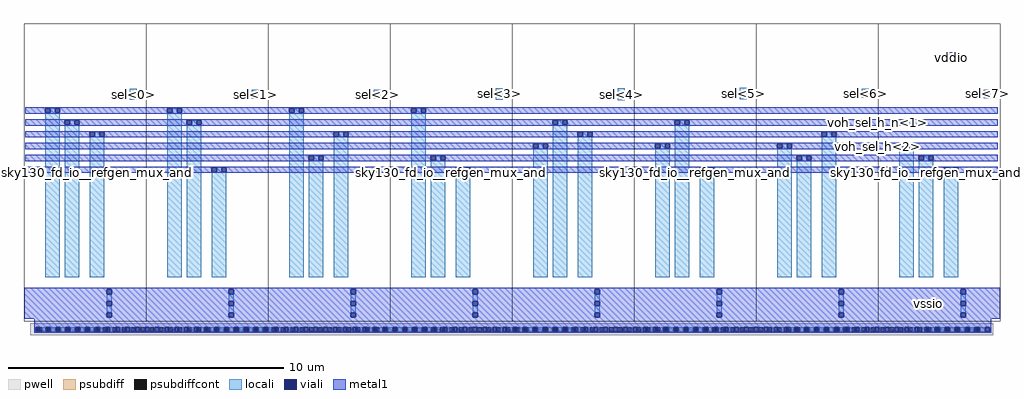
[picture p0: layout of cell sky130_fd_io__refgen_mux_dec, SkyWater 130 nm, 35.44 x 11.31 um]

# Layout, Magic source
magic
tech sky130B
magscale 1 2
<< pwell >>
rect 74 -98 7067 -12
<< psubdiff >>
rect 100 -72 124 -38
rect 158 -72 192 -38
rect 226 -72 260 -38
rect 294 -72 328 -38
rect 362 -72 396 -38
rect 430 -72 464 -38
rect 498 -72 532 -38
rect 566 -72 600 -38
rect 634 -72 668 -38
rect 702 -72 736 -38
rect 770 -72 804 -38
rect 838 -72 872 -38
rect 906 -72 940 -38
rect 974 -72 1008 -38
rect 1042 -72 1076 -38
rect 1110 -72 1144 -38
rect 1178 -72 1212 -38
rect 1246 -72 1280 -38
rect 1314 -72 1348 -38
rect 1382 -72 1416 -38
rect 1450 -72 1484 -38
rect 1518 -72 1552 -38
rect 1586 -72 1620 -38
rect 1654 -72 1688 -38
rect 1722 -72 1756 -38
rect 1790 -72 1824 -38
rect 1858 -72 1892 -38
rect 1926 -72 1960 -38
rect 1994 -72 2028 -38
rect 2062 -72 2096 -38
rect 2130 -72 2164 -38
rect 2198 -72 2232 -38
rect 2266 -72 2300 -38
rect 2334 -72 2368 -38
rect 2402 -72 2436 -38
rect 2470 -72 2504 -38
rect 2538 -72 2572 -38
rect 2606 -72 2640 -38
rect 2674 -72 2708 -38
rect 2742 -72 2776 -38
rect 2810 -72 2844 -38
rect 2878 -72 2912 -38
rect 2946 -72 2980 -38
rect 3014 -72 3048 -38
rect 3082 -72 3116 -38
rect 3150 -72 3184 -38
rect 3218 -72 3252 -38
rect 3286 -72 3320 -38
rect 3354 -72 3388 -38
rect 3422 -72 3456 -38
rect 3490 -72 3524 -38
rect 3558 -72 3592 -38
rect 3626 -72 3660 -38
rect 3694 -72 3728 -38
rect 3762 -72 3796 -38
rect 3830 -72 3864 -38
rect 3898 -72 3932 -38
rect 3966 -72 4000 -38
rect 4034 -72 4068 -38
rect 4102 -72 4136 -38
rect 4170 -72 4204 -38
rect 4238 -72 4272 -38
rect 4306 -72 4340 -38
rect 4374 -72 4408 -38
rect 4442 -72 4476 -38
rect 4510 -72 4544 -38
rect 4578 -72 4612 -38
rect 4646 -72 4680 -38
rect 4714 -72 4748 -38
rect 4782 -72 4816 -38
rect 4850 -72 4884 -38
rect 4918 -72 4952 -38
rect 4986 -72 5020 -38
rect 5054 -72 5088 -38
rect 5122 -72 5156 -38
rect 5190 -72 5224 -38
rect 5258 -72 5292 -38
rect 5326 -72 5360 -38
rect 5394 -72 5428 -38
rect 5462 -72 5496 -38
rect 5530 -72 5564 -38
rect 5598 -72 5632 -38
rect 5666 -72 5700 -38
rect 5734 -72 5768 -38
rect 5802 -72 5836 -38
rect 5870 -72 5904 -38
rect 5938 -72 5972 -38
rect 6006 -72 6040 -38
rect 6074 -72 6108 -38
rect 6142 -72 6176 -38
rect 6210 -72 6244 -38
rect 6278 -72 6312 -38
rect 6346 -72 6380 -38
rect 6414 -72 6448 -38
rect 6482 -72 6516 -38
rect 6550 -72 6584 -38
rect 6618 -72 6652 -38
rect 6686 -72 6720 -38
rect 6754 -72 6788 -38
rect 6822 -72 6856 -38
rect 6890 -72 6924 -38
rect 6958 -72 7041 -38
<< psubdiffcont >>
rect 124 -72 158 -38
rect 192 -72 226 -38
rect 260 -72 294 -38
rect 328 -72 362 -38
rect 396 -72 430 -38
rect 464 -72 498 -38
rect 532 -72 566 -38
rect 600 -72 634 -38
rect 668 -72 702 -38
rect 736 -72 770 -38
rect 804 -72 838 -38
rect 872 -72 906 -38
rect 940 -72 974 -38
rect 1008 -72 1042 -38
rect 1076 -72 1110 -38
rect 1144 -72 1178 -38
rect 1212 -72 1246 -38
rect 1280 -72 1314 -38
rect 1348 -72 1382 -38
rect 1416 -72 1450 -38
rect 1484 -72 1518 -38
rect 1552 -72 1586 -38
rect 1620 -72 1654 -38
rect 1688 -72 1722 -38
rect 1756 -72 1790 -38
rect 1824 -72 1858 -38
rect 1892 -72 1926 -38
rect 1960 -72 1994 -38
rect 2028 -72 2062 -38
rect 2096 -72 2130 -38
rect 2164 -72 2198 -38
rect 2232 -72 2266 -38
rect 2300 -72 2334 -38
rect 2368 -72 2402 -38
rect 2436 -72 2470 -38
rect 2504 -72 2538 -38
rect 2572 -72 2606 -38
rect 2640 -72 2674 -38
rect 2708 -72 2742 -38
rect 2776 -72 2810 -38
rect 2844 -72 2878 -38
rect 2912 -72 2946 -38
rect 2980 -72 3014 -38
rect 3048 -72 3082 -38
rect 3116 -72 3150 -38
rect 3184 -72 3218 -38
rect 3252 -72 3286 -38
rect 3320 -72 3354 -38
rect 3388 -72 3422 -38
rect 3456 -72 3490 -38
rect 3524 -72 3558 -38
rect 3592 -72 3626 -38
rect 3660 -72 3694 -38
rect 3728 -72 3762 -38
rect 3796 -72 3830 -38
rect 3864 -72 3898 -38
rect 3932 -72 3966 -38
rect 4000 -72 4034 -38
rect 4068 -72 4102 -38
rect 4136 -72 4170 -38
rect 4204 -72 4238 -38
rect 4272 -72 4306 -38
rect 4340 -72 4374 -38
rect 4408 -72 4442 -38
rect 4476 -72 4510 -38
rect 4544 -72 4578 -38
rect 4612 -72 4646 -38
rect 4680 -72 4714 -38
rect 4748 -72 4782 -38
rect 4816 -72 4850 -38
rect 4884 -72 4918 -38
rect 4952 -72 4986 -38
rect 5020 -72 5054 -38
rect 5088 -72 5122 -38
rect 5156 -72 5190 -38
rect 5224 -72 5258 -38
rect 5292 -72 5326 -38
rect 5360 -72 5394 -38
rect 5428 -72 5462 -38
rect 5496 -72 5530 -38
rect 5564 -72 5598 -38
rect 5632 -72 5666 -38
rect 5700 -72 5734 -38
rect 5768 -72 5802 -38
rect 5836 -72 5870 -38
rect 5904 -72 5938 -38
rect 5972 -72 6006 -38
rect 6040 -72 6074 -38
rect 6108 -72 6142 -38
rect 6176 -72 6210 -38
rect 6244 -72 6278 -38
rect 6312 -72 6346 -38
rect 6380 -72 6414 -38
rect 6448 -72 6482 -38
rect 6516 -72 6550 -38
rect 6584 -72 6618 -38
rect 6652 -72 6686 -38
rect 6720 -72 6754 -38
rect 6788 -72 6822 -38
rect 6856 -72 6890 -38
rect 6924 -72 6958 -38
<< locali >>
rect 794 1613 847 1692
rect 1680 1620 1733 1686
rect 2566 1623 2619 1685
rect 3452 1613 3505 1698
rect 4338 1609 4391 1698
rect 5224 1618 5277 1700
rect 6110 1628 6163 1692
rect 6996 1625 7049 1684
rect 216 1517 254 1551
rect 182 324 288 1517
rect 1102 1517 1140 1551
rect 358 1431 396 1465
rect 324 324 430 1431
rect 539 1345 577 1379
rect 505 324 611 1345
rect 1068 324 1174 1517
rect 1988 1517 2026 1551
rect 1244 1431 1282 1465
rect 1210 324 1316 1431
rect 1425 1087 1463 1121
rect 1391 324 1497 1087
rect 1954 324 2060 1517
rect 2874 1517 2912 1551
rect 2311 1345 2349 1379
rect 2130 1173 2168 1207
rect 2096 324 2202 1173
rect 2277 324 2383 1345
rect 2840 324 2946 1517
rect 3902 1431 3940 1465
rect 3760 1259 3798 1293
rect 3016 1173 3054 1207
rect 2982 324 3088 1173
rect 3197 1087 3235 1121
rect 3163 324 3269 1087
rect 3726 324 3832 1259
rect 3868 324 3974 1431
rect 4788 1431 4826 1465
rect 4083 1345 4121 1379
rect 4049 324 4155 1345
rect 4646 1259 4684 1293
rect 4612 324 4718 1259
rect 4754 324 4860 1431
rect 5855 1345 5893 1379
rect 5532 1259 5570 1293
rect 4969 1087 5007 1121
rect 4935 324 5041 1087
rect 5498 324 5604 1259
rect 5674 1173 5712 1207
rect 5640 324 5746 1173
rect 5821 324 5927 1345
rect 6418 1259 6456 1293
rect 6384 324 6490 1259
rect 6560 1173 6598 1207
rect 6526 324 6632 1173
rect 6741 1087 6779 1121
rect 6707 324 6813 1087
rect 629 151 663 201
rect 629 67 663 117
rect 1515 151 1549 201
rect 1515 67 1549 117
rect 2401 151 2435 201
rect 2401 67 2435 117
rect 3287 151 3321 201
rect 3287 67 3321 117
rect 4173 151 4207 201
rect 4173 67 4207 117
rect 5059 151 5093 201
rect 5059 67 5093 117
rect 5945 151 5979 201
rect 5945 67 5979 117
rect 6831 151 6865 201
rect 6831 67 6865 117
rect 100 -72 112 -38
rect 158 -72 184 -38
rect 226 -72 256 -38
rect 294 -72 328 -38
rect 362 -72 396 -38
rect 434 -72 464 -38
rect 506 -72 532 -38
rect 578 -72 600 -38
rect 650 -72 668 -38
rect 722 -72 736 -38
rect 794 -72 804 -38
rect 866 -72 872 -38
rect 938 -72 940 -38
rect 974 -72 976 -38
rect 1042 -72 1048 -38
rect 1110 -72 1120 -38
rect 1178 -72 1192 -38
rect 1246 -72 1264 -38
rect 1314 -72 1336 -38
rect 1382 -72 1408 -38
rect 1450 -72 1480 -38
rect 1518 -72 1552 -38
rect 1586 -72 1620 -38
rect 1658 -72 1688 -38
rect 1730 -72 1756 -38
rect 1802 -72 1824 -38
rect 1874 -72 1892 -38
rect 1946 -72 1960 -38
rect 2018 -72 2028 -38
rect 2090 -72 2096 -38
rect 2162 -72 2164 -38
rect 2198 -72 2200 -38
rect 2266 -72 2272 -38
rect 2334 -72 2344 -38
rect 2402 -72 2416 -38
rect 2470 -72 2488 -38
rect 2538 -72 2560 -38
rect 2606 -72 2632 -38
rect 2674 -72 2704 -38
rect 2742 -72 2776 -38
rect 2810 -72 2844 -38
rect 2882 -72 2912 -38
rect 2954 -72 2980 -38
rect 3026 -72 3048 -38
rect 3099 -72 3116 -38
rect 3172 -72 3184 -38
rect 3245 -72 3252 -38
rect 3318 -72 3320 -38
rect 3354 -72 3357 -38
rect 3422 -72 3430 -38
rect 3490 -72 3503 -38
rect 3558 -72 3576 -38
rect 3626 -72 3649 -38
rect 3694 -72 3722 -38
rect 3762 -72 3795 -38
rect 3830 -72 3864 -38
rect 3902 -72 3932 -38
rect 3975 -72 4000 -38
rect 4048 -72 4068 -38
rect 4121 -72 4136 -38
rect 4194 -72 4204 -38
rect 4267 -72 4272 -38
rect 4374 -72 4379 -38
rect 4442 -72 4452 -38
rect 4510 -72 4525 -38
rect 4578 -72 4598 -38
rect 4646 -72 4671 -38
rect 4714 -72 4744 -38
rect 4782 -72 4816 -38
rect 4851 -72 4884 -38
rect 4924 -72 4952 -38
rect 4997 -72 5020 -38
rect 5070 -72 5088 -38
rect 5143 -72 5156 -38
rect 5216 -72 5224 -38
rect 5289 -72 5292 -38
rect 5326 -72 5328 -38
rect 5394 -72 5401 -38
rect 5462 -72 5474 -38
rect 5530 -72 5547 -38
rect 5598 -72 5620 -38
rect 5666 -72 5693 -38
rect 5734 -72 5766 -38
rect 5802 -72 5836 -38
rect 5873 -72 5904 -38
rect 5946 -72 5972 -38
rect 6019 -72 6040 -38
rect 6092 -72 6108 -38
rect 6165 -72 6176 -38
rect 6238 -72 6244 -38
rect 6311 -72 6312 -38
rect 6346 -72 6350 -38
rect 6414 -72 6423 -38
rect 6482 -72 6496 -38
rect 6550 -72 6569 -38
rect 6618 -72 6642 -38
rect 6686 -72 6715 -38
rect 6754 -72 6788 -38
rect 6822 -72 6856 -38
rect 6895 -72 6924 -38
rect 6968 -72 7007 -38
<< viali >>
rect 182 1517 216 1551
rect 254 1517 288 1551
rect 1068 1517 1102 1551
rect 1140 1517 1174 1551
rect 324 1431 358 1465
rect 396 1431 430 1465
rect 505 1345 539 1379
rect 577 1345 611 1379
rect 1954 1517 1988 1551
rect 2026 1517 2060 1551
rect 1210 1431 1244 1465
rect 1282 1431 1316 1465
rect 1391 1087 1425 1121
rect 1463 1087 1497 1121
rect 2840 1517 2874 1551
rect 2912 1517 2946 1551
rect 2277 1345 2311 1379
rect 2349 1345 2383 1379
rect 2096 1173 2130 1207
rect 2168 1173 2202 1207
rect 3868 1431 3902 1465
rect 3940 1431 3974 1465
rect 3726 1259 3760 1293
rect 3798 1259 3832 1293
rect 2982 1173 3016 1207
rect 3054 1173 3088 1207
rect 3163 1087 3197 1121
rect 3235 1087 3269 1121
rect 4754 1431 4788 1465
rect 4826 1431 4860 1465
rect 4049 1345 4083 1379
rect 4121 1345 4155 1379
rect 4612 1259 4646 1293
rect 4684 1259 4718 1293
rect 5821 1345 5855 1379
rect 5893 1345 5927 1379
rect 5498 1259 5532 1293
rect 5570 1259 5604 1293
rect 4935 1087 4969 1121
rect 5007 1087 5041 1121
rect 5640 1173 5674 1207
rect 5712 1173 5746 1207
rect 6384 1259 6418 1293
rect 6456 1259 6490 1293
rect 6526 1173 6560 1207
rect 6598 1173 6632 1207
rect 6707 1087 6741 1121
rect 6779 1087 6813 1121
rect 629 201 663 235
rect 629 117 663 151
rect 629 33 663 67
rect 1515 201 1549 235
rect 1515 117 1549 151
rect 1515 33 1549 67
rect 2401 201 2435 235
rect 2401 117 2435 151
rect 2401 33 2435 67
rect 3287 201 3321 235
rect 3287 117 3321 151
rect 3287 33 3321 67
rect 4173 201 4207 235
rect 4173 117 4207 151
rect 4173 33 4207 67
rect 5059 201 5093 235
rect 5059 117 5093 151
rect 5059 33 5093 67
rect 5945 201 5979 235
rect 5945 117 5979 151
rect 5945 33 5979 67
rect 6831 201 6865 235
rect 6831 117 6865 151
rect 6831 33 6865 67
rect 112 -72 124 -38
rect 124 -72 146 -38
rect 184 -72 192 -38
rect 192 -72 218 -38
rect 256 -72 260 -38
rect 260 -72 290 -38
rect 328 -72 362 -38
rect 400 -72 430 -38
rect 430 -72 434 -38
rect 472 -72 498 -38
rect 498 -72 506 -38
rect 544 -72 566 -38
rect 566 -72 578 -38
rect 616 -72 634 -38
rect 634 -72 650 -38
rect 688 -72 702 -38
rect 702 -72 722 -38
rect 760 -72 770 -38
rect 770 -72 794 -38
rect 832 -72 838 -38
rect 838 -72 866 -38
rect 904 -72 906 -38
rect 906 -72 938 -38
rect 976 -72 1008 -38
rect 1008 -72 1010 -38
rect 1048 -72 1076 -38
rect 1076 -72 1082 -38
rect 1120 -72 1144 -38
rect 1144 -72 1154 -38
rect 1192 -72 1212 -38
rect 1212 -72 1226 -38
rect 1264 -72 1280 -38
rect 1280 -72 1298 -38
rect 1336 -72 1348 -38
rect 1348 -72 1370 -38
rect 1408 -72 1416 -38
rect 1416 -72 1442 -38
rect 1480 -72 1484 -38
rect 1484 -72 1514 -38
rect 1552 -72 1586 -38
rect 1624 -72 1654 -38
rect 1654 -72 1658 -38
rect 1696 -72 1722 -38
rect 1722 -72 1730 -38
rect 1768 -72 1790 -38
rect 1790 -72 1802 -38
rect 1840 -72 1858 -38
rect 1858 -72 1874 -38
rect 1912 -72 1926 -38
rect 1926 -72 1946 -38
rect 1984 -72 1994 -38
rect 1994 -72 2018 -38
rect 2056 -72 2062 -38
rect 2062 -72 2090 -38
rect 2128 -72 2130 -38
rect 2130 -72 2162 -38
rect 2200 -72 2232 -38
rect 2232 -72 2234 -38
rect 2272 -72 2300 -38
rect 2300 -72 2306 -38
rect 2344 -72 2368 -38
rect 2368 -72 2378 -38
rect 2416 -72 2436 -38
rect 2436 -72 2450 -38
rect 2488 -72 2504 -38
rect 2504 -72 2522 -38
rect 2560 -72 2572 -38
rect 2572 -72 2594 -38
rect 2632 -72 2640 -38
rect 2640 -72 2666 -38
rect 2704 -72 2708 -38
rect 2708 -72 2738 -38
rect 2776 -72 2810 -38
rect 2848 -72 2878 -38
rect 2878 -72 2882 -38
rect 2920 -72 2946 -38
rect 2946 -72 2954 -38
rect 2992 -72 3014 -38
rect 3014 -72 3026 -38
rect 3065 -72 3082 -38
rect 3082 -72 3099 -38
rect 3138 -72 3150 -38
rect 3150 -72 3172 -38
rect 3211 -72 3218 -38
rect 3218 -72 3245 -38
rect 3284 -72 3286 -38
rect 3286 -72 3318 -38
rect 3357 -72 3388 -38
rect 3388 -72 3391 -38
rect 3430 -72 3456 -38
rect 3456 -72 3464 -38
rect 3503 -72 3524 -38
rect 3524 -72 3537 -38
rect 3576 -72 3592 -38
rect 3592 -72 3610 -38
rect 3649 -72 3660 -38
rect 3660 -72 3683 -38
rect 3722 -72 3728 -38
rect 3728 -72 3756 -38
rect 3795 -72 3796 -38
rect 3796 -72 3829 -38
rect 3868 -72 3898 -38
rect 3898 -72 3902 -38
rect 3941 -72 3966 -38
rect 3966 -72 3975 -38
rect 4014 -72 4034 -38
rect 4034 -72 4048 -38
rect 4087 -72 4102 -38
rect 4102 -72 4121 -38
rect 4160 -72 4170 -38
rect 4170 -72 4194 -38
rect 4233 -72 4238 -38
rect 4238 -72 4267 -38
rect 4306 -72 4340 -38
rect 4379 -72 4408 -38
rect 4408 -72 4413 -38
rect 4452 -72 4476 -38
rect 4476 -72 4486 -38
rect 4525 -72 4544 -38
rect 4544 -72 4559 -38
rect 4598 -72 4612 -38
rect 4612 -72 4632 -38
rect 4671 -72 4680 -38
rect 4680 -72 4705 -38
rect 4744 -72 4748 -38
rect 4748 -72 4778 -38
rect 4817 -72 4850 -38
rect 4850 -72 4851 -38
rect 4890 -72 4918 -38
rect 4918 -72 4924 -38
rect 4963 -72 4986 -38
rect 4986 -72 4997 -38
rect 5036 -72 5054 -38
rect 5054 -72 5070 -38
rect 5109 -72 5122 -38
rect 5122 -72 5143 -38
rect 5182 -72 5190 -38
rect 5190 -72 5216 -38
rect 5255 -72 5258 -38
rect 5258 -72 5289 -38
rect 5328 -72 5360 -38
rect 5360 -72 5362 -38
rect 5401 -72 5428 -38
rect 5428 -72 5435 -38
rect 5474 -72 5496 -38
rect 5496 -72 5508 -38
rect 5547 -72 5564 -38
rect 5564 -72 5581 -38
rect 5620 -72 5632 -38
rect 5632 -72 5654 -38
rect 5693 -72 5700 -38
rect 5700 -72 5727 -38
rect 5766 -72 5768 -38
rect 5768 -72 5800 -38
rect 5839 -72 5870 -38
rect 5870 -72 5873 -38
rect 5912 -72 5938 -38
rect 5938 -72 5946 -38
rect 5985 -72 6006 -38
rect 6006 -72 6019 -38
rect 6058 -72 6074 -38
rect 6074 -72 6092 -38
rect 6131 -72 6142 -38
rect 6142 -72 6165 -38
rect 6204 -72 6210 -38
rect 6210 -72 6238 -38
rect 6277 -72 6278 -38
rect 6278 -72 6311 -38
rect 6350 -72 6380 -38
rect 6380 -72 6384 -38
rect 6423 -72 6448 -38
rect 6448 -72 6457 -38
rect 6496 -72 6516 -38
rect 6516 -72 6530 -38
rect 6569 -72 6584 -38
rect 6584 -72 6603 -38
rect 6642 -72 6652 -38
rect 6652 -72 6676 -38
rect 6715 -72 6720 -38
rect 6720 -72 6749 -38
rect 6788 -72 6822 -38
rect 6861 -72 6890 -38
rect 6890 -72 6895 -38
rect 6934 -72 6958 -38
rect 6958 -72 6968 -38
rect 7007 -72 7041 -38
<< metal1 >>
rect 6720 1886 6808 1957
rect 35 1551 7100 1557
rect 35 1517 182 1551
rect 216 1517 254 1551
rect 288 1517 1068 1551
rect 1102 1517 1140 1551
rect 1174 1517 1954 1551
rect 1988 1517 2026 1551
rect 2060 1517 2840 1551
rect 2874 1517 2912 1551
rect 2946 1517 7100 1551
rect 35 1511 7100 1517
rect 35 1465 7100 1471
rect 35 1431 324 1465
rect 358 1431 396 1465
rect 430 1431 1210 1465
rect 1244 1431 1282 1465
rect 1316 1431 3868 1465
rect 3902 1431 3940 1465
rect 3974 1431 4754 1465
rect 4788 1431 4826 1465
rect 4860 1431 7100 1465
rect 35 1425 7100 1431
rect 35 1379 7100 1385
rect 35 1345 505 1379
rect 539 1345 577 1379
rect 611 1345 2277 1379
rect 2311 1345 2349 1379
rect 2383 1345 4049 1379
rect 4083 1345 4121 1379
rect 4155 1345 5821 1379
rect 5855 1345 5893 1379
rect 5927 1345 7100 1379
rect 35 1339 7100 1345
rect 35 1293 7100 1299
rect 35 1259 3726 1293
rect 3760 1259 3798 1293
rect 3832 1259 4612 1293
rect 4646 1259 4684 1293
rect 4718 1259 5498 1293
rect 5532 1259 5570 1293
rect 5604 1259 6384 1293
rect 6418 1259 6456 1293
rect 6490 1259 7100 1293
rect 35 1253 7100 1259
rect 35 1207 7100 1213
rect 35 1173 2096 1207
rect 2130 1173 2168 1207
rect 2202 1173 2982 1207
rect 3016 1173 3054 1207
rect 3088 1173 5640 1207
rect 5674 1173 5712 1207
rect 5746 1173 6526 1207
rect 6560 1173 6598 1207
rect 6632 1173 7100 1207
rect 35 1167 7100 1173
rect 35 1121 7100 1127
rect 35 1087 1391 1121
rect 1425 1087 1463 1121
rect 1497 1087 3163 1121
rect 3197 1087 3235 1121
rect 3269 1087 4935 1121
rect 4969 1087 5007 1121
rect 5041 1087 6707 1121
rect 6741 1087 6779 1121
rect 6813 1087 7100 1121
rect 35 1081 7100 1087
rect 27 235 7115 247
rect 27 201 629 235
rect 663 201 1515 235
rect 1549 201 2401 235
rect 2435 201 3287 235
rect 3321 201 4173 235
rect 4207 201 5059 235
rect 5093 201 5945 235
rect 5979 201 6831 235
rect 6865 201 7115 235
rect 27 151 7115 201
rect 27 117 629 151
rect 663 117 1515 151
rect 1549 117 2401 151
rect 2435 117 3287 151
rect 3321 117 4173 151
rect 4207 117 5059 151
rect 5093 117 5945 151
rect 5979 117 6831 151
rect 6865 117 7115 151
rect 27 67 7115 117
rect 27 33 629 67
rect 663 33 1515 67
rect 1549 33 2401 67
rect 2435 33 3287 67
rect 3321 33 4173 67
rect 4207 33 5059 67
rect 5093 33 5945 67
rect 5979 33 6831 67
rect 6865 33 7115 67
rect 27 21 7115 33
rect 100 -38 7053 21
rect 100 -72 112 -38
rect 146 -72 184 -38
rect 218 -72 256 -38
rect 290 -72 328 -38
rect 362 -72 400 -38
rect 434 -72 472 -38
rect 506 -72 544 -38
rect 578 -72 616 -38
rect 650 -72 688 -38
rect 722 -72 760 -38
rect 794 -72 832 -38
rect 866 -72 904 -38
rect 938 -72 976 -38
rect 1010 -72 1048 -38
rect 1082 -72 1120 -38
rect 1154 -72 1192 -38
rect 1226 -72 1264 -38
rect 1298 -72 1336 -38
rect 1370 -72 1408 -38
rect 1442 -72 1480 -38
rect 1514 -72 1552 -38
rect 1586 -72 1624 -38
rect 1658 -72 1696 -38
rect 1730 -72 1768 -38
rect 1802 -72 1840 -38
rect 1874 -72 1912 -38
rect 1946 -72 1984 -38
rect 2018 -72 2056 -38
rect 2090 -72 2128 -38
rect 2162 -72 2200 -38
rect 2234 -72 2272 -38
rect 2306 -72 2344 -38
rect 2378 -72 2416 -38
rect 2450 -72 2488 -38
rect 2522 -72 2560 -38
rect 2594 -72 2632 -38
rect 2666 -72 2704 -38
rect 2738 -72 2776 -38
rect 2810 -72 2848 -38
rect 2882 -72 2920 -38
rect 2954 -72 2992 -38
rect 3026 -72 3065 -38
rect 3099 -72 3138 -38
rect 3172 -72 3211 -38
rect 3245 -72 3284 -38
rect 3318 -72 3357 -38
rect 3391 -72 3430 -38
rect 3464 -72 3503 -38
rect 3537 -72 3576 -38
rect 3610 -72 3649 -38
rect 3683 -72 3722 -38
rect 3756 -72 3795 -38
rect 3829 -72 3868 -38
rect 3902 -72 3941 -38
rect 3975 -72 4014 -38
rect 4048 -72 4087 -38
rect 4121 -72 4160 -38
rect 4194 -72 4233 -38
rect 4267 -72 4306 -38
rect 4340 -72 4379 -38
rect 4413 -72 4452 -38
rect 4486 -72 4525 -38
rect 4559 -72 4598 -38
rect 4632 -72 4671 -38
rect 4705 -72 4744 -38
rect 4778 -72 4817 -38
rect 4851 -72 4890 -38
rect 4924 -72 4963 -38
rect 4997 -72 5036 -38
rect 5070 -72 5109 -38
rect 5143 -72 5182 -38
rect 5216 -72 5255 -38
rect 5289 -72 5328 -38
rect 5362 -72 5401 -38
rect 5435 -72 5474 -38
rect 5508 -72 5547 -38
rect 5581 -72 5620 -38
rect 5654 -72 5693 -38
rect 5727 -72 5766 -38
rect 5800 -72 5839 -38
rect 5873 -72 5912 -38
rect 5946 -72 5985 -38
rect 6019 -72 6058 -38
rect 6092 -72 6131 -38
rect 6165 -72 6204 -38
rect 6238 -72 6277 -38
rect 6311 -72 6350 -38
rect 6384 -72 6423 -38
rect 6457 -72 6496 -38
rect 6530 -72 6569 -38
rect 6603 -72 6642 -38
rect 6676 -72 6715 -38
rect 6749 -72 6788 -38
rect 6822 -72 6861 -38
rect 6895 -72 6934 -38
rect 6968 -72 7007 -38
rect 7041 -72 7053 -38
rect 100 -78 7053 -72
use sky130_fd_io__refgen_mux_and3  sky130_fd_io__refgen_mux_and3_0
transform 1 0 2685 0 1 -8
box 0 13 886 2173
use sky130_fd_io__refgen_mux_and3  sky130_fd_io__refgen_mux_and3_1
transform 1 0 27 0 1 -8
box 0 13 886 2173
use sky130_fd_io__refgen_mux_and3  sky130_fd_io__refgen_mux_and3_2
transform 1 0 4457 0 1 -8
box 0 13 886 2173
use sky130_fd_io__refgen_mux_and3  sky130_fd_io__refgen_mux_and3_3
transform 1 0 6229 0 1 -8
box 0 13 886 2173
use sky130_fd_io__refgen_mux_and3  sky130_fd_io__refgen_mux_and3_4
transform 1 0 3571 0 1 -8
box 0 13 886 2173
use sky130_fd_io__refgen_mux_and3  sky130_fd_io__refgen_mux_and3_5
transform 1 0 5343 0 1 -8
box 0 13 886 2173
use sky130_fd_io__refgen_mux_and3  sky130_fd_io__refgen_mux_and3_6
transform 1 0 913 0 1 -8
box 0 13 886 2173
use sky130_fd_io__refgen_mux_and3  sky130_fd_io__refgen_mux_and3_7
transform 1 0 1799 0 1 -8
box 0 13 886 2173
<< labels >>
flabel metal1 s 6187 1253 6257 1299 0 FreeSans 500 0 0 0 voh_sel_h<2>
port 3 nsew
flabel metal1 s 6187 1167 6257 1213 0 FreeSans 500 0 0 0 voh_sel_h<1>
port 5 nsew
flabel metal1 s 6187 1425 6257 1471 0 FreeSans 500 0 0 0 voh_sel_h_n<1>
port 4 nsew
flabel metal1 s 6187 1511 6257 1557 0 FreeSans 500 0 0 0 voh_sel_h_n<2>
port 8 nsew
flabel metal1 s 6187 1081 6257 1127 0 FreeSans 500 0 0 0 voh_sel_h<0>
port 1 nsew
flabel metal1 s 6720 1886 6808 1957 0 FreeSans 500 0 0 0 vddio
port 6 nsew
flabel metal1 s 6557 90 6641 179 0 FreeSans 500 0 0 0 vssio
port 7 nsew
flabel metal1 s 6187 1339 6257 1385 0 FreeSans 500 0 0 0 voh_sel_h_n<0>
port 2 nsew
flabel locali s 2566 1623 2619 1685 0 FreeSans 500 90 0 0 sel<2>
port 10 nsew
flabel locali s 3452 1613 3505 1698 0 FreeSans 500 90 0 0 sel<3>
port 11 nsew
flabel locali s 4338 1609 4391 1698 0 FreeSans 500 90 0 0 sel<4>
port 12 nsew
flabel locali s 6996 1625 7049 1684 0 FreeSans 500 90 0 0 sel<7>
port 13 nsew
flabel locali s 5224 1618 5277 1700 0 FreeSans 500 90 0 0 sel<5>
port 14 nsew
flabel locali s 6110 1628 6163 1692 0 FreeSans 500 90 0 0 sel<6>
port 15 nsew
flabel locali s 794 1613 847 1692 0 FreeSans 500 90 0 0 sel<0>
port 16 nsew
flabel locali s 1680 1620 1733 1686 0 FreeSans 500 90 0 0 sel<1>
port 17 nsew
<< properties >>
string GDS_END 80640712
string GDS_FILE $PDKPATH/libs.ref/sky130_fd_io/gds/sky130_fd_io.gds
string GDS_START 80615068
string path 2.500 -1.375 176.025 -1.375 
<< end >>
